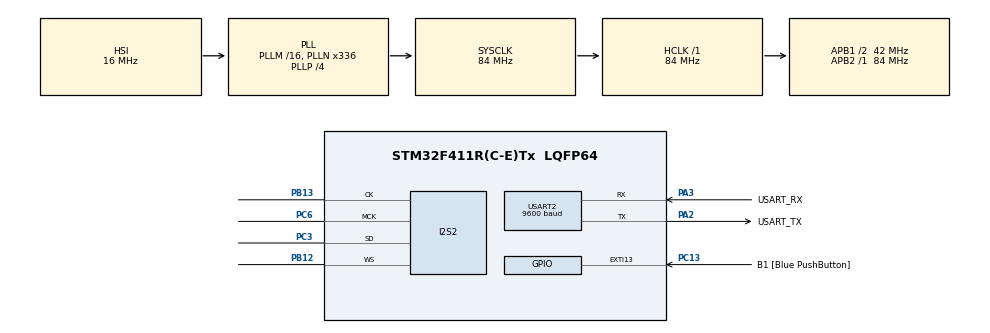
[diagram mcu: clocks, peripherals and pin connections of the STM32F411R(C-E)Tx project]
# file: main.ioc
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I2S2.AudioFreq=I2S_AUDIOFREQ_48K
I2S2.DataFormat=I2S_DATAFORMAT_16B
I2S2.ErrorAudioFreq=-2.34 %
I2S2.FullDuplexMode=I2S_FULLDUPLEXMODE_DISABLE
I2S2.Instance=SPI$Index
I2S2.RealAudioFreq=46.875 KHz
I2S2.Standard=I2S_STANDARD_PHILIPS
I2S2.VirtualMode=I2S_MODE_MASTER
Mcu.Family=STM32F4
Mcu.Name=STM32F411R(C-E)Tx
Mcu.Package=LQFP64
NVIC.PriorityGroup=NVIC_PRIORITYGROUP_0
PA13.GPIO_Label=TMS
PA13.Signal=SYS_JTMS-SWDIO
PA14.GPIO_Label=TCK
PA14.Signal=SYS_JTCK-SWCLK
PA2.GPIO_Label=USART_TX
PA2.Mode=Asynchronous
PA2.Signal=USART2_TX
PA3.GPIO_Label=USART_RX
PA3.Mode=Asynchronous
PA3.Signal=USART2_RX
PB12.Mode=Half_Duplex_Master
PB12.Signal=I2S2_WS
PB13.Mode=Half_Duplex_Master
PB13.Signal=I2S2_CK
PB3.GPIO_Label=SWO
PB3.Signal=SYS_JTDO-SWO
PC13-ANTI_TAMP.GPIO_Label=B1 [Blue PushButton]
PC13-ANTI_TAMP.GPIO_ModeDefaultEXTI=GPIO_MODE_IT_FALLING
PC13-ANTI_TAMP.Signal=GPXTI13
PC14-OSC32_IN.Signal=RCC_OSC32_IN
PC15-OSC32_OUT.Signal=RCC_OSC32_OUT
PC3.Mode=Half_Duplex_Master
PC3.Signal=I2S2_SD
PC6.Mode=Master_Clock_Activated
PC6.Signal=I2S2_MCK
PH0\ -\ OSC_IN.Signal=RCC_OSC_IN
PH1\ -\ OSC_OUT.Signal=RCC_OSC_OUT
ProjectManager.HeapSize=0x200
ProjectManager.StackSize=0x400
ProjectManager.TargetToolchain=Makefile
RCC.48MHZClocksFreq_Value=84000000
RCC.AHBFreq_Value=84000000
RCC.APB1CLKDivider=RCC_HCLK_DIV2
RCC.APB1Freq_Value=42000000
RCC.APB1TimFreq_Value=84000000
RCC.APB2Freq_Value=84000000
RCC.APB2TimFreq_Value=84000000
RCC.CortexFreq_Value=84000000
RCC.FLatency-AdvancedSettings=FLASH_LATENCY_2
RCC.HCLKFreq_Value=84000000
RCC.HSE_VALUE=8000000
RCC.HSI_VALUE=16000000
RCC.LSE_VALUE=32768
RCC.PLLN=336
RCC.PLLP=RCC_PLLP_DIV4
RCC.RCC_RTC_Clock_Source=RCC_RTCCLKSOURCE_LSE
RCC.RCC_RTC_Clock_SourceVirtual=RCC_RTCCLKSOURCE_LSE
RCC.SYSCLKFreq_VALUE=84000000
RCC.SYSCLKSource=RCC_SYSCLKSOURCE_PLLCLK
RCC.VCOOutputFreq_Value=336000000
USART2.BaudRate=9600
USART2.VirtualMode=VM_ASYNC
board=NUCLEO-F411RE

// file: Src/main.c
#include "main.h"
#include "stm32f4xx_hal.h"

/* USER CODE BEGIN Includes */
/* vim: set ai et ts=4 sw=4: */
#include <string.h>
#include <math.h>
#include <stdlib.h>
#include <stdarg.h>
#include <stdbool.h>
/* USER CODE END Includes */

I2S_HandleTypeDef hi2s2;

UART_HandleTypeDef huart2;

/* USER CODE BEGIN PV */
/* Private variables ---------------------------------------------------------*/

/* USER CODE END PV */

void SystemClock_Config(void);
static void MX_GPIO_Init(void);
static void MX_USART2_UART_Init(void);
static void MX_I2S2_Init(void);

/* USER CODE BEGIN PFP */
/* Private function prototypes -----------------------------------------------*/

/* USER CODE END PFP */

/* USER CODE BEGIN 0 */

void UART_Printf(const char* fmt, ...) {
    char buff[256];
    va_list args;
    va_start(args, fmt);
    vsnprintf(buff, sizeof(buff), fmt, args);
    HAL_UART_Transmit(&huart2, (uint8_t*)buff, strlen(buff),
                      HAL_MAX_DELAY);
    va_end(args);
}

void init() {
    UART_Printf("Ready!\r\n");
}

#define PI 3.14159265358979323846
#define TAU (2.0 * PI)

void loop() {
    HAL_StatusTypeDef res;
    int16_t signal[46876];
    int nsamples = sizeof(signal) / sizeof(signal[0]);

    int i = 0;
    while(i < nsamples) {
        double t = ((double)i/2.0)/((double)nsamples);
        signal[i] = 32767*sin(100.0 * TAU * t); // left
        signal[i+1] = signal[i]; // right
        i += 2;
    }

    while(1) {
        res = HAL_I2S_Transmit(&hi2s2, (uint16_t*)signal, nsamples, HAL_MAX_DELAY);
        if(res != HAL_OK) {
            UART_Printf("I2S - ERROR, res = %d!\r\n", res);
            break;
        }
    }
}

/* USER CODE END 0 */

int main(void)
{

  /* MCU Configuration----------------------------------------------------------*/

  /* Reset of all peripherals, Initializes the Flash interface and the Systick. */
  HAL_Init();

  /* Configure the system clock */
  SystemClock_Config();

  /* Initialize all configured peripherals */
  MX_GPIO_Init();
  MX_USART2_UART_Init();
  MX_I2S2_Init();

  /* Infinite loop */
  /* USER CODE BEGIN WHILE */
  init();
  while (1)
  {
    loop();
  /* USER CODE END WHILE */

  }

}

/** System Clock Configuration
*/
void SystemClock_Config(void)
{

  RCC_OscInitTypeDef RCC_OscInitStruct;
  RCC_ClkInitTypeDef RCC_ClkInitStruct;
  RCC_PeriphCLKInitTypeDef PeriphClkInitStruct;

    /**Configure the main internal regulator output voltage
    */
  __HAL_RCC_PWR_CLK_ENABLE();

  __HAL_PWR_VOLTAGESCALING_CONFIG(PWR_REGULATOR_VOLTAGE_SCALE1);

    /**Initializes the CPU, AHB and APB busses clocks
    */
  RCC_OscInitStruct.OscillatorType = RCC_OSCILLATORTYPE_HSI;
  RCC_OscInitStruct.HSIState = RCC_HSI_ON;
  RCC_OscInitStruct.HSICalibrationValue = 16;
  RCC_OscInitStruct.PLL.PLLState = RCC_PLL_ON;
  RCC_OscInitStruct.PLL.PLLSource = RCC_PLLSOURCE_HSI;
  RCC_OscInitStruct.PLL.PLLM = 16;
  RCC_OscInitStruct.PLL.PLLN = 336;
  RCC_OscInitStruct.PLL.PLLP = RCC_PLLP_DIV4;
  RCC_OscInitStruct.PLL.PLLQ = 4;
  if (HAL_RCC_OscConfig(&RCC_OscInitStruct) != HAL_OK)
  {
    _Error_Handler(__FILE__, __LINE__);
  }

    /**Initializes the CPU, AHB and APB busses clocks
    */
  RCC_ClkInitStruct.ClockType = RCC_CLOCKTYPE_HCLK|RCC_CLOCKTYPE_SYSCLK
                              |RCC_CLOCKTYPE_PCLK1|RCC_CLOCKTYPE_PCLK2;
  RCC_ClkInitStruct.SYSCLKSource = RCC_SYSCLKSOURCE_PLLCLK;
  RCC_ClkInitStruct.AHBCLKDivider = RCC_SYSCLK_DIV1;
  RCC_ClkInitStruct.APB1CLKDivider = RCC_HCLK_DIV2;
  RCC_ClkInitStruct.APB2CLKDivider = RCC_HCLK_DIV1;

  if (HAL_RCC_ClockConfig(&RCC_ClkInitStruct, FLASH_LATENCY_2) != HAL_OK)
  {
    _Error_Handler(__FILE__, __LINE__);
  }

  PeriphClkInitStruct.PeriphClockSelection = RCC_PERIPHCLK_I2S;
  PeriphClkInitStruct.PLLI2S.PLLI2SN = 192;
  PeriphClkInitStruct.PLLI2S.PLLI2SM = 16;
  PeriphClkInitStruct.PLLI2S.PLLI2SR = 2;
  if (HAL_RCCEx_PeriphCLKConfig(&PeriphClkInitStruct) != HAL_OK)
  {
    _Error_Handler(__FILE__, __LINE__);
  }

    /**Configure the Systick interrupt time
    */
  HAL_SYSTICK_Config(HAL_RCC_GetHCLKFreq()/1000);

    /**Configure the Systick
    */
  HAL_SYSTICK_CLKSourceConfig(SYSTICK_CLKSOURCE_HCLK);

  /* SysTick_IRQn interrupt configuration */
  HAL_NVIC_SetPriority(SysTick_IRQn, 0, 0);
}

/* I2S2 init function */
static void MX_I2S2_Init(void)
{

  hi2s2.Instance = SPI2;
  hi2s2.Init.Mode = I2S_MODE_MASTER_TX;
  hi2s2.Init.Standard = I2S_STANDARD_PHILIPS;
  hi2s2.Init.DataFormat = I2S_DATAFORMAT_16B;
  hi2s2.Init.MCLKOutput = I2S_MCLKOUTPUT_ENABLE;
  hi2s2.Init.AudioFreq = I2S_AUDIOFREQ_48K;
  hi2s2.Init.CPOL = I2S_CPOL_LOW;
  hi2s2.Init.ClockSource = I2S_CLOCK_PLL;
  hi2s2.Init.FullDuplexMode = I2S_FULLDUPLEXMODE_DISABLE;
  if (HAL_I2S_Init(&hi2s2) != HAL_OK)
  {
    _Error_Handler(__FILE__, __LINE__);
  }

}

/* USART2 init function */
static void MX_USART2_UART_Init(void)
{

  huart2.Instance = USART2;
  huart2.Init.BaudRate = 9600;
  huart2.Init.WordLength = UART_WORDLENGTH_8B;
  huart2.Init.StopBits = UART_STOPBITS_1;
  huart2.Init.Parity = UART_PARITY_NONE;
  huart2.Init.Mode = UART_MODE_TX_RX;
  huart2.Init.HwFlowCtl = UART_HWCONTROL_NONE;
  huart2.Init.OverSampling = UART_OVERSAMPLING_16;
  if (HAL_UART_Init(&huart2) != HAL_OK)
  {
    _Error_Handler(__FILE__, __LINE__);
  }

}

/** Configure pins as
        * Analog
        * Input
        * Output
        * EVENT_OUT
        * EXTI
*/
static void MX_GPIO_Init(void)
{

  GPIO_InitTypeDef GPIO_InitStruct;

  /* GPIO Ports Clock Enable */
  __HAL_RCC_GPIOC_CLK_ENABLE();
  __HAL_RCC_GPIOH_CLK_ENABLE();
  __HAL_RCC_GPIOA_CLK_ENABLE();
  __HAL_RCC_GPIOB_CLK_ENABLE();

  /*Configure GPIO pin : B1_Pin */
  GPIO_InitStruct.Pin = B1_Pin;
  GPIO_InitStruct.Mode = GPIO_MODE_IT_FALLING;
  GPIO_InitStruct.Pull = GPIO_NOPULL;
  HAL_GPIO_Init(B1_GPIO_Port, &GPIO_InitStruct);

}

void _Error_Handler(char * file, int line)
{
  while(1)
  {
  }
}

/************************ (C) COPYRIGHT STMicroelectronics *****END OF FILE****/
